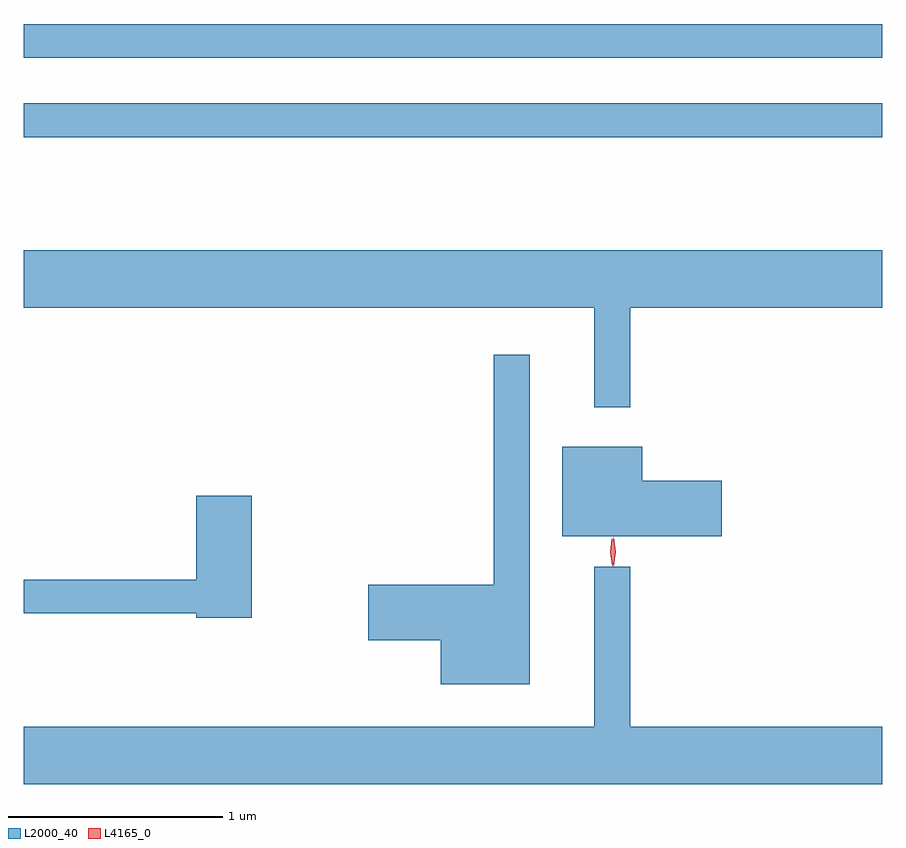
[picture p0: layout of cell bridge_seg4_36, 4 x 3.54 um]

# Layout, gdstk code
import gdstk
lib = gdstk.Library(unit=1e-6, precision=1e-09)
def R(c, l, rs):  # rectangles x0, y0, x1, y1
    for r in rs: c.add(gdstk.rectangle(r[:2], r[2:], *l))
def P(c, l, *ps):  # polygons
    for p in ps: c.add(gdstk.Polygon(p, *l))
L2000_40 = (2000, 40)
L4165_0 = (4165, 0)

bridge_seg4_36 = lib.new_cell('bridge_seg4_36')
R(bridge_seg4_36, L2000_40, [(1180.162,1353.251,1184.162,1353.409), (1180.162,1353.621,1184.162,1353.779)])
P(bridge_seg4_36, L2000_40, [(1182.989,1352.456),(1184.162,1352.456),(1184.162,1352.724),(1180.162,1352.724),(1180.162,1352.456),(1182.821,1352.456),(1182.821,1351.993),(1182.989,1351.993)],
  [(1182.519,1352.238),(1182.351,1352.238),(1182.351,1351.164),(1181.766,1351.164),(1181.766,1350.906),(1182.106,1350.906),(1182.106,1350.701),(1182.519,1350.701)],
  [(1183.414,1351.649),(1183.044,1351.649),(1183.044,1351.809),(1182.671,1351.809),(1182.671,1351.391),(1183.414,1351.391)],
  [(1181.224,1351.579),(1180.966,1351.579),(1180.966,1351.189),(1180.162,1351.189),(1180.162,1351.031),(1180.966,1351.031),(1180.966,1351.011),(1181.224,1351.011)],
  [(1184.162,1350.504),(1182.989,1350.504),(1182.989,1351.248),(1182.821,1351.248),(1182.821,1350.504),(1180.162,1350.504),(1180.162,1350.236),(1184.162,1350.236)])
P(bridge_seg4_36, L4165_0, [(1182.911,1351.25),(1182.911,1351.25),(1182.901,1351.318),(1182.911,1351.386),(1182.911,1351.386),(1182.912,1351.386),(1182.921,1351.318),(1182.912,1351.25)],
  [(1182.904,1351.253),(1182.894,1351.316),(1182.903,1351.379),(1182.904,1351.38),(1182.904,1351.379),(1182.914,1351.316),(1182.906,1351.253),(1182.905,1351.253)])

lib.write_gds('bridge_seg4_36.gds')
